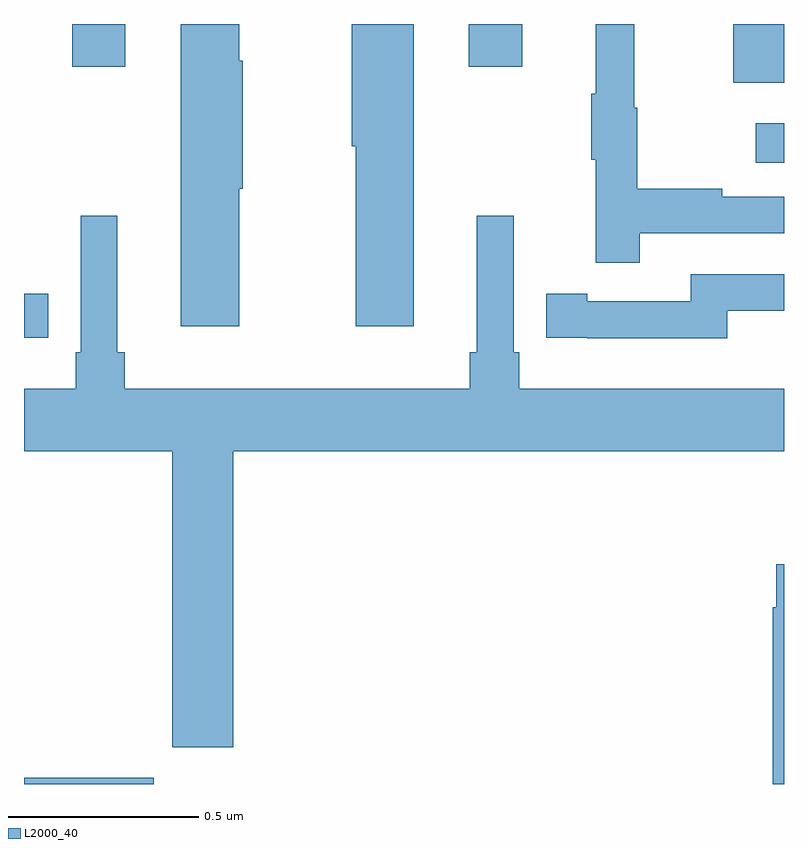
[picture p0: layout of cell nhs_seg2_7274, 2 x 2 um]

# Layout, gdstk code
import gdstk
lib = gdstk.Library(unit=1e-6, precision=1e-09)
def R(c, l, rs):  # rectangles x0, y0, x1, y1
    for r in rs: c.add(gdstk.rectangle(r[:2], r[2:], *l))
def P(c, l, *ps):  # polygons
    for p in ps: c.add(gdstk.Polygon(p, *l))
L2000_40 = (2000, 40)

nhs_seg2_7274 = lib.new_cell('nhs_seg2_7274')
R(nhs_seg2_7274, L2000_40, [(202,606.8,202.342,606.817), (202,607.974,202.064,608.09), (203.925,608.435,204,608.539), (203.867,608.646,204,608.8), (202.127,608.688,202.267,608.8), (203.171,608.688,203.311,608.8)])
P(nhs_seg2_7274, L2000_40, [(203.026,608.8),(202.862,608.8),(202.862,608.478),(202.873,608.478),(202.873,608.004),(203.026,608.004)],
  [(203.621,608.25),(204,608.25),(204,608.346),(203.837,608.346),(203.837,608.366),(203.614,608.366),(203.614,608.58),(203.606,608.58),(203.606,608.8),(203.504,608.8),(203.504,608.617),(203.493,608.617),(203.493,608.443),(203.504,608.443),(203.504,608.172),(203.621,608.172)],
  [(202.566,608.367),(202.576,608.367),(202.576,608.703),(202.566,608.703),(202.566,608.8),(202.412,608.8),(202.412,608.004),(202.566,608.004)],
  [(202.55,607.676),(204,607.676),(204,607.84),(203.303,607.84),(203.303,607.936),(203.289,607.936),(203.289,608.296),(203.192,608.296),(203.192,607.936),(203.173,607.936),(203.173,607.84),(202.265,607.84),(202.265,607.936),(202.246,607.936),(202.246,608.296),(202.149,608.296),(202.149,607.936),(202.136,607.936),(202.136,607.84),(202,607.84),(202,607.676),(202.39,607.676),(202.39,606.897),(202.55,606.897)],
  [(203.85,608.046),(204,608.046),(204,608.142),(203.754,608.142),(203.754,608.07),(203.482,608.07),(203.482,608.09),(203.374,608.09),(203.374,607.974),(203.482,607.974),(203.482,607.973),(203.85,607.973)],
  [(204,607.378),(203.979,607.378),(203.979,607.265),(203.971,607.265),(203.971,606.8),(204,606.8)])

lib.write_gds('nhs_seg2_7274.gds')
